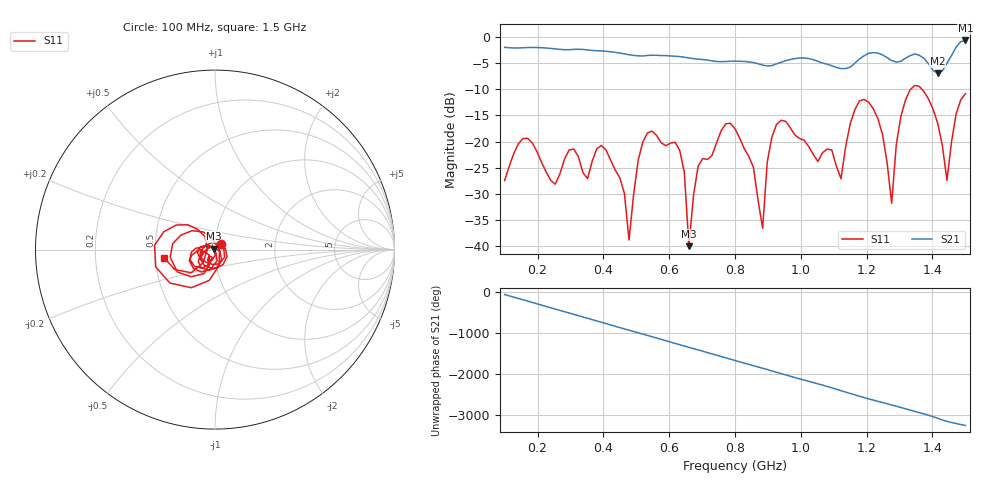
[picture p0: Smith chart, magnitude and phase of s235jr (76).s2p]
! NanoVNA-App
! Date: 2025-09-25 15:04:45
! Start: 100MHz Stop: 1,5GHz Points: 101
! S-Parameter data: F S11 S21 S12 S22
# Hz S RI R 50
!  Frequency  S11_Real  S11_Imag  S21_Real  S21_Imag  S12_Real  S12_Imag  S22_Real  S22_Imag
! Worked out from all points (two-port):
!   101 points, 100 MHz to 1.5 GHz, reference 50 ohm
!   highest |S21| = -0.64 dB at 1.5 GHz (marker M1); lowest = -6.9 dB at 1.416 GHz (marker M2)
!   |S21| within 3 dB of the highest: start of sweep to 612.3 MHz; 1.191 GHz to 1.254 GHz (63.8 MHz wide, 5.22 % of centre) (the widest 2 of 4)
!   lowest |S11| = -40.0 dB at 660 MHz (marker M3), VSWR 1.02, Z = 49.2 + j0.583 ohm
!   |S11| at or under -10 dB: start of sweep to 1.334 GHz; 1.368 GHz to end of sweep
!   S12 and S22 are empty: the file has one direction only
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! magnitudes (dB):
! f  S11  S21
! 100 MHz  -27.5  -2.0
! 156 MHz  -19.4  -2.0
! 338 MHz  -26.0  -2.4
! 408 MHz  -21.6  -2.7
! 478 MHz  -38.9  -3.4
! 520 MHz  -20.1  -3.6
! 576 MHz  -20.3  -3.5
! 632 MHz  -21.7  -3.7
! 660 MHz  -40.0  -4.0
! 688 MHz  -24.7  -4.2
! 800 MHz  -17.5  -4.6
! 884 MHz  -36.6  -5.4
! 898 MHz  -23.9  -5.5
! 926 MHz  -16.7  -5.1
! 1.038 GHz  -22.5  -4.4
! 1.122 GHz  -27.1  -6.0
! 1.206 GHz  -12.5  -3.1
! 1.276 GHz  -31.8  -4.5
! 1.332 GHz  -10.1  -3.6
! 1.416 GHz  -16.5  -6.9
! 1.444 GHz  -27.4  -5.0
! 1.5 GHz  -10.8  -0.6
